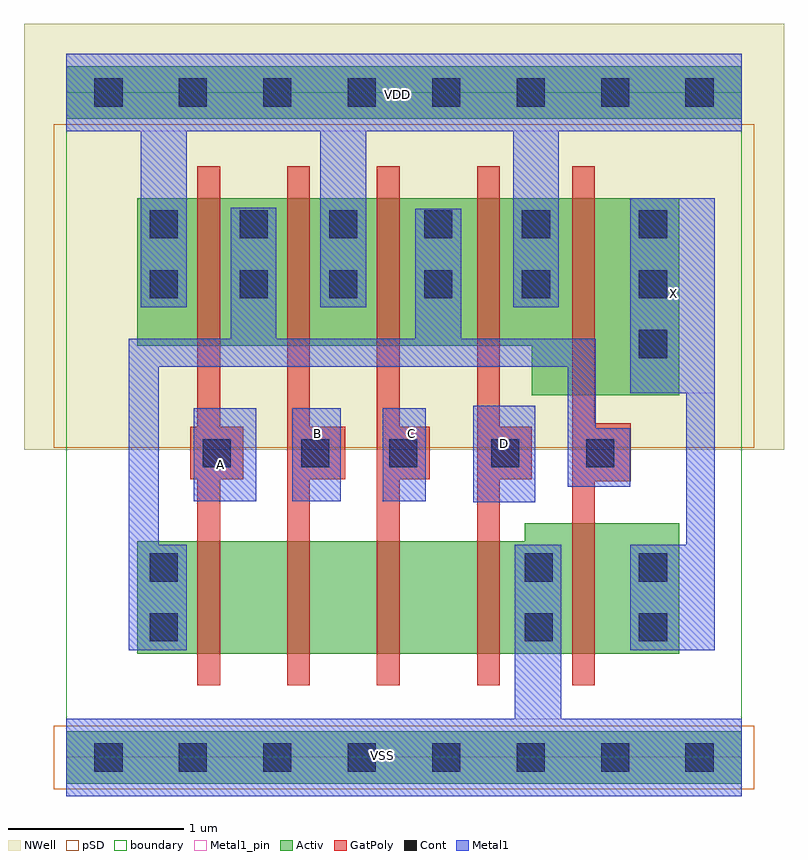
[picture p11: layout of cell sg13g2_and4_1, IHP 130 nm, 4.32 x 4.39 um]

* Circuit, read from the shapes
.subckt sg13g2_and4_1 A B C D VDD VSS X
XM1 n1 A n2 VSS sg13_lv_nmos w=0.64u l=0.13u
XM2 n3 B n1 VSS sg13_lv_nmos w=0.64u l=0.13u
XM3 n4 C n3 VSS sg13_lv_nmos w=0.64u l=0.13u
XM4 VSS D n4 VSS sg13_lv_nmos w=0.64u l=0.13u
XM5 X n2 VSS VSS sg13_lv_nmos w=0.74u l=0.13u
XM6 n2 A VDD VDD sg13_lv_pmos w=0.84u l=0.13u
XM7 VDD B n2 VDD sg13_lv_pmos w=0.84u l=0.13u
XM8 n2 C VDD VDD sg13_lv_pmos w=0.84u l=0.13u
XM9 VDD D n2 VDD sg13_lv_pmos w=0.84u l=0.13u
XM10 X n2 VDD VDD sg13_lv_pmos w=1.12u l=0.13u
.ends

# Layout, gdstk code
import gdstk
lib = gdstk.Library(unit=1e-6, precision=1e-09)
def R(c, l, rs):  # rectangles x0, y0, x1, y1
    for r in rs: c.add(gdstk.rectangle(r[:2], r[2:], *l))
def P(c, l, *ps):  # polygons
    for p in ps: c.add(gdstk.Polygon(p, *l))
Activ = (1, 0)
GatPoly = (5, 0)
Cont = (6, 0)
Metal1 = (8, 0)
Metal1_pin = (8, 2)
pSD = (14, 0)
NWell = (31, 0)
boundary = (189, 4)

sg13g2_and4_1 = lib.new_cell('sg13g2_and4_1')
R(sg13g2_and4_1, Activ, [(0,-0.15,3.84,0.15), (0,-0.15,3.84,0.15), (0,3.63,3.84,3.93), (0,3.63,3.84,3.93)])
P(sg13g2_and4_1, Activ, [(0.405,0.59),(0.405,1.23),(2.605,1.23),(2.605,1.33),(3.485,1.33),(3.485,0.59)],
  [(2.645,2.06),(2.645,2.34),(0.405,2.34),(0.405,3.18),(3.485,3.18),(3.485,2.06)],
  [(0.405,0.59),(0.405,1.23),(2.605,1.23),(2.605,1.33),(3.485,1.33),(3.485,0.59)],
  [(2.645,2.06),(2.645,2.34),(0.405,2.34),(0.405,3.18),(3.485,3.18),(3.485,2.06)])
P(sg13g2_and4_1, GatPoly, [(2.875,0.41),(2.875,3.36),(3.005,3.36),(3.005,1.9),(3.21,1.9),(3.21,1.57),(3.005,1.57),(3.005,0.41)],
  [(0.745,0.41),(0.745,1.58),(0.705,1.58),(0.705,1.88),(0.745,1.88),(0.745,3.36),(0.875,3.36),(0.875,1.88),(1.005,1.88),(1.005,1.58),(0.875,1.58),(0.875,0.41)],
  [(1.255,0.41),(1.255,3.36),(1.385,3.36),(1.385,1.88),(1.585,1.88),(1.585,1.58),(1.385,1.58),(1.385,0.41)],
  [(1.765,0.41),(1.765,3.36),(1.895,3.36),(1.895,1.88),(2.065,1.88),(2.065,1.58),(1.895,1.58),(1.895,0.41)],
  [(2.335,0.41),(2.335,3.36),(2.465,3.36),(2.465,1.88),(2.645,1.88),(2.645,1.58),(2.465,1.58),(2.465,0.41)],
  [(2.875,0.41),(2.875,3.36),(3.005,3.36),(3.005,1.9),(3.21,1.9),(3.21,1.57),(3.005,1.57),(3.005,0.41)],
  [(0.745,0.41),(0.745,1.58),(0.705,1.58),(0.705,1.88),(0.745,1.88),(0.745,3.36),(0.875,3.36),(0.875,1.88),(1.005,1.88),(1.005,1.58),(0.875,1.58),(0.875,0.41)],
  [(1.255,0.41),(1.255,3.36),(1.385,3.36),(1.385,1.88),(1.585,1.88),(1.585,1.58),(1.385,1.58),(1.385,0.41)],
  [(1.765,0.41),(1.765,3.36),(1.895,3.36),(1.895,1.88),(2.065,1.88),(2.065,1.58),(1.895,1.58),(1.895,0.41)],
  [(2.335,0.41),(2.335,3.36),(2.465,3.36),(2.465,1.88),(2.645,1.88),(2.645,1.58),(2.465,1.58),(2.465,0.41)])
R(sg13g2_and4_1, Cont, [(0.16,-0.08,0.32,0.08), (0.16,-0.08,0.32,0.08), (0.64,-0.08,0.8,0.08), (0.64,-0.08,0.8,0.08), (1.12,-0.08,1.28,0.08), (1.12,-0.08,1.28,0.08), (1.6,-0.08,1.76,0.08), (1.6,-0.08,1.76,0.08), (2.08,-0.08,2.24,0.08), (2.08,-0.08,2.24,0.08), (2.56,-0.08,2.72,0.08), (2.56,-0.08,2.72,0.08), (3.04,-0.08,3.2,0.08), (3.04,-0.08,3.2,0.08), (3.52,-0.08,3.68,0.08), (3.52,-0.08,3.68,0.08), (0.475,0.66,0.635,0.82), (0.475,0.66,0.635,0.82), (2.605,0.66,2.765,0.82), (2.605,0.66,2.765,0.82), (3.255,0.66,3.415,0.82), (3.255,0.66,3.415,0.82), (0.475,1,0.635,1.16), (0.475,1,0.635,1.16), (2.605,1,2.765,1.16), (2.605,1,2.765,1.16), (3.255,1,3.415,1.16), (3.255,1,3.415,1.16), (0.775,1.65,0.935,1.81), (0.775,1.65,0.935,1.81), (1.335,1.65,1.495,1.81), (1.335,1.65,1.495,1.81), (1.835,1.65,1.995,1.81), (1.835,1.65,1.995,1.81), (2.415,1.65,2.575,1.81), (2.415,1.65,2.575,1.81), (2.955,1.65,3.115,1.81), (2.955,1.65,3.115,1.81), (3.255,2.27,3.415,2.43), (3.255,2.27,3.415,2.43), (0.475,2.61,0.635,2.77), (0.475,2.61,0.635,2.77), (0.985,2.61,1.145,2.77), (0.985,2.61,1.145,2.77), (1.495,2.61,1.655,2.77), (1.495,2.61,1.655,2.77), (2.035,2.61,2.195,2.77), (2.035,2.61,2.195,2.77), (2.59,2.61,2.75,2.77), (2.59,2.61,2.75,2.77), (3.255,2.61,3.415,2.77), (3.255,2.61,3.415,2.77), (0.475,2.95,0.635,3.11), (0.475,2.95,0.635,3.11), (0.985,2.95,1.145,3.11), (0.985,2.95,1.145,3.11), (1.495,2.95,1.655,3.11), (1.495,2.95,1.655,3.11), (2.035,2.95,2.195,3.11), (2.035,2.95,2.195,3.11), (2.59,2.95,2.75,3.11), (2.59,2.95,2.75,3.11), (3.255,2.95,3.415,3.11), (3.255,2.95,3.415,3.11), (0.16,3.7,0.32,3.86), (0.16,3.7,0.32,3.86), (0.64,3.7,0.8,3.86), (0.64,3.7,0.8,3.86), (1.12,3.7,1.28,3.86), (1.12,3.7,1.28,3.86), (1.6,3.7,1.76,3.86), (1.6,3.7,1.76,3.86), (2.08,3.7,2.24,3.86), (2.08,3.7,2.24,3.86), (2.56,3.7,2.72,3.86), (2.56,3.7,2.72,3.86), (3.04,3.7,3.2,3.86), (3.04,3.7,3.2,3.86), (3.52,3.7,3.68,3.86), (3.52,3.7,3.68,3.86)])
R(sg13g2_and4_1, Metal1, [(2.315,1.45,2.665,2), (2.315,1.45,2.665,2), (0.725,1.455,1.08,1.985), (0.725,1.455,1.08,1.985), (1.285,1.455,1.56,1.985), (1.285,1.455,1.56,1.985), (1.8,1.455,2.045,1.985), (1.8,1.455,2.045,1.985)])
P(sg13g2_and4_1, Metal1, [(0,-0.22),(0,0.22),(2.55,0.22),(2.55,1.21),(2.815,1.21),(2.815,0.22),(3.84,0.22),(3.84,-0.22)],
  [(0.425,2.56),(0.425,3.56),(0,3.56),(0,4),(3.84,4),(3.84,3.56),(2.8,3.56),(2.8,2.56),(2.54,2.56),(2.54,3.56),(1.705,3.56),(1.705,2.56),(1.445,2.56),(1.445,3.56),(0.685,3.56),(0.685,2.56)],
  [(3.205,0.61),(3.205,1.21),(3.525,1.21),(3.525,2.07),(3.205,2.07),(3.205,3.18),(3.685,3.18),(3.685,0.61)],
  [(0.355,0.61),(0.355,2.38),(0.935,2.38),(0.935,3.125),(1.195,3.125),(1.195,2.38),(1.985,2.38),(1.985,3.12),(2.245,3.12),(2.245,2.38),(3.01,2.38),(3.01,1.87),(3.205,1.87),(3.205,1.54),(2.85,1.54),(2.85,2.22),(0.525,2.22),(0.525,1.21),(0.685,1.21),(0.685,0.61)],
  [(0,-0.22),(0,0.22),(2.55,0.22),(2.55,1.21),(2.815,1.21),(2.815,0.22),(3.84,0.22),(3.84,-0.22)],
  [(0.425,2.56),(0.425,3.56),(0,3.56),(0,4),(3.84,4),(3.84,3.56),(2.8,3.56),(2.8,2.56),(2.54,2.56),(2.54,3.56),(1.705,3.56),(1.705,2.56),(1.445,2.56),(1.445,3.56),(0.685,3.56),(0.685,2.56)],
  [(3.205,0.61),(3.205,1.21),(3.525,1.21),(3.525,2.07),(3.205,2.07),(3.205,3.18),(3.685,3.18),(3.685,0.61)],
  [(0.355,0.61),(0.355,2.38),(0.935,2.38),(0.935,3.125),(1.195,3.125),(1.195,2.38),(1.985,2.38),(1.985,3.12),(2.245,3.12),(2.245,2.38),(3.01,2.38),(3.01,1.87),(3.205,1.87),(3.205,1.54),(2.85,1.54),(2.85,2.22),(0.525,2.22),(0.525,1.21),(0.685,1.21),(0.685,0.61)])
R(sg13g2_and4_1, Metal1_pin, [(0,-0.22,3.84,0.22), (0,-0.22,3.84,0.22), (2.315,1.45,2.665,2), (2.315,1.45,2.665,2), (0.725,1.455,1.08,1.985), (0.725,1.455,1.08,1.985), (1.285,1.455,1.56,1.985), (1.285,1.455,1.56,1.985), (1.8,1.455,2.045,1.985), (1.8,1.455,2.045,1.985), (3.205,2.07,3.685,3.18), (3.205,2.07,3.685,3.18), (0,3.56,3.84,4), (0,3.56,3.84,4)])
R(sg13g2_and4_1, pSD, [(-0.07,-0.18,3.91,0.18), (-0.07,-0.18,3.91,0.18), (-0.07,1.76,3.91,3.6), (-0.07,1.76,3.91,3.6)])
R(sg13g2_and4_1, NWell, [(-0.24,1.75,4.08,4.17), (-0.24,1.75,4.08,4.17)])
R(sg13g2_and4_1, boundary, [(0,0,3.84,3.78), (0,0,3.84,3.78)])
sg13g2_and4_1.add(gdstk.Label('X', (3.45,2.64), layer=8, texttype=25))
sg13g2_and4_1.add(gdstk.Label('B', (1.43,1.84), layer=8, texttype=25))
sg13g2_and4_1.add(gdstk.Label('A', (0.875,1.665), layer=8, texttype=25))
sg13g2_and4_1.add(gdstk.Label('VDD', (1.885,3.77), layer=8, texttype=25))
sg13g2_and4_1.add(gdstk.Label('VSS', (1.795,0.01), layer=8, texttype=25))
sg13g2_and4_1.add(gdstk.Label('C', (1.965,1.84), layer=8, texttype=25))
sg13g2_and4_1.add(gdstk.Label('D', (2.49,1.785), layer=8, texttype=25))
sg13g2_and4_1.add(gdstk.Label('X', (3.45,2.64), layer=8, texttype=25))
sg13g2_and4_1.add(gdstk.Label('B', (1.43,1.84), layer=8, texttype=25))
sg13g2_and4_1.add(gdstk.Label('A', (0.875,1.665), layer=8, texttype=25))
sg13g2_and4_1.add(gdstk.Label('VDD', (1.885,3.77), layer=8, texttype=25))
sg13g2_and4_1.add(gdstk.Label('VSS', (1.795,0.01), layer=8, texttype=25))
sg13g2_and4_1.add(gdstk.Label('C', (1.965,1.84), layer=8, texttype=25))
sg13g2_and4_1.add(gdstk.Label('D', (2.49,1.785), layer=8, texttype=25))

lib.write_gds('sg13g2_and4_1.gds')
